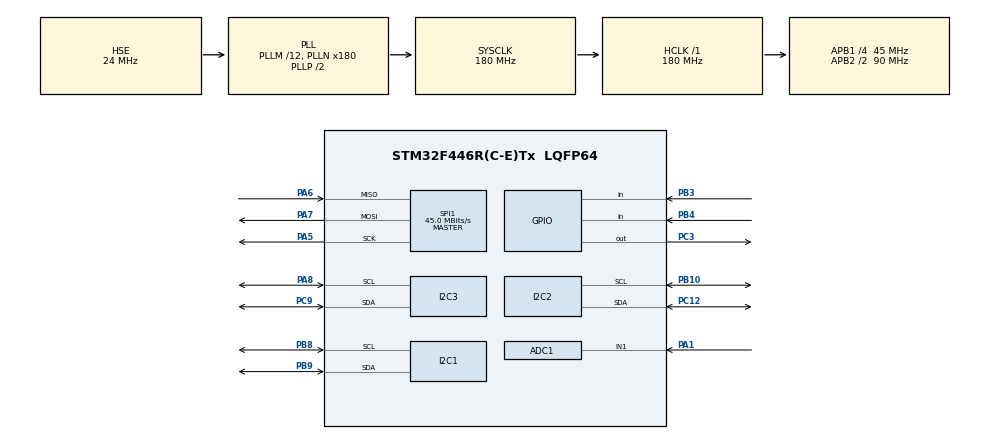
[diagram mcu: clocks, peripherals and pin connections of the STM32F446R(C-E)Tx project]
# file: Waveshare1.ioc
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ADC1.Channel-0\#ChannelRegularConversion=ADC_CHANNEL_1
ADC1.NbrOfConversionFlag=1
ADC1.Rank-0\#ChannelRegularConversion=1
ADC1.SamplingTime-0\#ChannelRegularConversion=ADC_SAMPLETIME_3CYCLES
ADC1.master=1
FATFS._MAX_SS=4096
FATFS._USE_LFN=1
I2C1.I2C_Mode=I2C_Fast
I2C3.I2C_Mode=I2C_Fast
Mcu.Family=STM32F4
Mcu.Name=STM32F446R(C-E)Tx
Mcu.Package=LQFP64
NVIC.PriorityGroup=NVIC_PRIORITYGROUP_4
NVIC.TIM1_UP_TIM10_IRQn=true\:0\:0\:false\:false\:true\:true\:true\:true
NVIC.TIM3_IRQn=true\:0\:0\:false\:false\:true\:true\:true\:true
PA1.Signal=ADCx_IN1
PA13.Mode=Serial_Wire
PA13.Signal=SYS_JTMS-SWDIO
PA14.Mode=Serial_Wire
PA14.Signal=SYS_JTCK-SWCLK
PA5.Mode=Full_Duplex_Master
PA5.Signal=SPI1_SCK
PA6.Mode=Full_Duplex_Master
PA6.Signal=SPI1_MISO
PA7.Mode=Full_Duplex_Master
PA7.Signal=SPI1_MOSI
PA8.Mode=I2C
PA8.Signal=I2C3_SCL
PB10.Mode=I2C
PB10.Signal=I2C2_SCL
PB3.Signal=GPIO_Input
PB4.Signal=GPIO_Input
PB8.Mode=I2C
PB8.Signal=I2C1_SCL
PB9.Mode=I2C
PB9.Signal=I2C1_SDA
PC12.Mode=I2C
PC12.Signal=I2C2_SDA
PC3.Signal=GPIO_Output
PC9.Mode=I2C
PC9.Signal=I2C3_SDA
PH0-OSC_IN.Mode=HSE-External-Oscillator
PH0-OSC_IN.Signal=RCC_OSC_IN
PH1-OSC_OUT.Mode=HSE-External-Oscillator
PH1-OSC_OUT.Signal=RCC_OSC_OUT
ProjectManager.HeapSize=0x200
ProjectManager.StackSize=0x400
ProjectManager.TargetToolchain=STM32CubeIDE
RCC.AHBFreq_Value=180000000
RCC.APB1CLKDivider=RCC_HCLK_DIV4
RCC.APB1Freq_Value=45000000
RCC.APB1TimFreq_Value=90000000
RCC.APB2CLKDivider=RCC_HCLK_DIV2
RCC.APB2Freq_Value=90000000
RCC.APB2TimFreq_Value=180000000
RCC.CortexFreq_Value=180000000
RCC.HCLKFreq_Value=180000000
RCC.HSE_VALUE=24000000
RCC.PLLM=12
RCC.PLLN=180
RCC.PLLSourceVirtual=RCC_PLLSOURCE_HSE
RCC.SYSCLKFreq_VALUE=180000000
RCC.SYSCLKSource=RCC_SYSCLKSOURCE_PLLCLK
RCC.USBFreq_Value=180000000
RCC.VCOOutputFreq_Value=360000000
SH.ADCx_IN1.0=ADC1_IN1,IN1
SPI1.BaudRatePrescaler=SPI_BAUDRATEPRESCALER_2
SPI1.CalculateBaudRate=45.0 MBits/s
SPI1.Direction=SPI_DIRECTION_2LINES
SPI1.Mode=SPI_MODE_MASTER
SPI1.VirtualType=VM_MASTER
TIM10.AutoReloadPreload=TIM_AUTORELOAD_PRELOAD_ENABLE
TIM10.Prescaler=17999
TIM3.AutoReloadPreload=TIM_AUTORELOAD_PRELOAD_ENABLE
TIM3.Prescaler=17999
VP_FATFS_VS_Generic.Mode=User_defined
VP_TIM10_VS_ClockSourceINT.Mode=Enable_Timer
VP_TIM3_VS_ClockSourceINT.Mode=Internal
board=custom

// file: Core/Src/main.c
/* USER CODE BEGIN Header */
/**
  ******************************************************************************
  * @file           : main.c
  * @brief          : Main program body
  ******************************************************************************
  * @attention
  *
  * Copyright (c) 2022 STMicroelectronics.
  * All rights reserved.
  *
  * This software is licensed under terms that can be found in the LICENSE file
  * in the root directory of this software component.
  * If no LICENSE file comes with this software, it is provided AS-IS.
  *
  ******************************************************************************
  */
/* USER CODE END Header */
#include "main.h"
#include "fatfs.h"
#include "ssd1306.h"
#include "stdio.h"
#include "string.h"
#include "Waveshare_10Dof-D.h"
#include "mpu925x.h"
#include "mpu9255.h"
/* USER CODE BEGIN Includes */
FATFS fs;
FIL fil;

/* USER CODE END Includes */

 ADC_HandleTypeDef hadc1;

//I2C_HandleTypeDef hi2c1;
I2C_HandleTypeDef hi2c2;
I2C_HandleTypeDef hi2c3;

SPI_HandleTypeDef hspi1;

TIM_HandleTypeDef htim3;
TIM_HandleTypeDef htim10;

void SystemClock_Config(void);
static void MX_GPIO_Init(void);
static void MX_ADC1_Init(void);
//static void MX_I2C1_Init(void);
static void MX_I2C2_Init(void);
static void MX_I2C3_Init(void);
static void MX_SPI1_Init(void);
static void MX_TIM10_Init(void);
static void MX_TIM3_Init(void);

/* USER CODE BEGIN 0 */

 uint32_t total_time=-65535;
 MPU9255_t MPU9255;
uint8_t I2C_ReadOneByte(uint8_t DevAddr, uint8_t RegAddr)
{
  uint8_t u8Ret[1]={0};
  HAL_I2C_Mem_Read(&hi2c1, DevAddr,RegAddr,I2C_MEMADD_SIZE_8BIT,u8Ret,1,1000);
  return u8Ret[0];
}

void I2C_WriteOneByte(uint8_t DevAddr, uint8_t RegAddr, uint8_t value)
{
  uint8_t buf[2]={0};

  buf[0] = RegAddr;
  buf[1] = value;
  HAL_I2C_Master_Transmit(&hi2c1,DevAddr,buf,2,100);

}

uint8_t mpu925x_stm32_i2c_hal_read(mpu925x_t *mpu925x, uint8_t slave_address, uint8_t reg, uint8_t *buffer, uint8_t size)
{
        return HAL_I2C_Mem_Read(mpu925x->master_specific.bus_handle, slave_address << 1, reg, 1, buffer, size, HAL_MAX_DELAY);
}

//mpu925x.master_specific.bus_read = mpu925x_stm32_i2c_hal_read;

uint8_t mpu925x_stm32_i2c_hal_write(mpu925x_t *mpu925x, uint8_t slave_address, uint8_t reg, uint8_t *buffer, uint8_t size)
{
        return HAL_I2C_Mem_Write(mpu925x->master_specific.bus_handle, slave_address << 1, reg, 1, buffer, size, HAL_MAX_DELAY);
}

//mpu925x.master_specific.bus_write = mpu925x_stm32_i2c_hal_write;

void mpu925x_stm32_hal_delay_ms(mpu925x_t *mpu925x, uint32_t delay)
{
        HAL_Delay(delay);
}

//mpu925x.master_specific.delay_ms = mpu925x_stm32_hal_delay_ms;

/* USER CODE END 0 */

int main(void)
{

  /* MCU Configuration--------------------------------------------------------*/

  /* Reset of all peripherals, Initializes the Flash interface and the Systick. */
  HAL_Init();

  /* Configure the system clock */
  SystemClock_Config();

  /* Initialize all configured peripherals */
  MX_GPIO_Init();
  MX_ADC1_Init();
  MX_I2C1_Init();
  MX_I2C2_Init();
  MX_I2C3_Init();
  MX_SPI1_Init();
  MX_FATFS_Init();
  MX_TIM10_Init();
  MX_TIM3_Init();
  /* USER CODE BEGIN 2 */

  uint16_t timer_val=0;

 // mpu925x.master_specific.bus_handle = &hi2c1;

  HAL_Delay(10);
  f_mount(&fs, "", 0);
  f_open(&fil, "write.txt", FA_OPEN_ALWAYS | FA_WRITE | FA_READ);
  HAL_Delay(10);

	IMU_EN_SENSOR_TYPE enMotionSensorType;
	IMU_EN_SENSOR_TYPE enPressureType;
//  	IMU_ST_ANGLES_DATA stAngles;
// 	IMU_ST_SENSOR_DATA stGyroRawData;
// 	IMU_ST_SENSOR_DATA stAccelRawData;
//  	IMU_ST_SENSOR_DATA stMagnRawData;
	int32_t s32PressureVal = 0, s32TemperatureVal = 0, s32AltitudeVal = 0;
// 	icm20948init();
// 	bmp280Init();
	imuInit(&enMotionSensorType, &enPressureType);
/*  	if(IMU_EN_SENSOR_TYPE_ICM20948 == enMotionSensorType)
	{
      ssd1306_SetCursor(5,5);
		 char retVal= ssd1306_WriteString("Motion ICM-20948\n", Font_7x10, White);
		      ssd1306_UpdateScreen();
	}
	else
	{
      ssd1306_SetCursor(5,5);
		char retVal= ssd1306_WriteString("Motion NULL\n", Font_7x10, White);
		      ssd1306_UpdateScreen();
	}*/
	if(IMU_EN_SENSOR_TYPE_BMP280 == enPressureType)
	{
      ssd1306_SetCursor(5,15);
		char retVal= ssd1306_WriteString("Pressure BMP280\n", Font_7x10, White);
		      ssd1306_UpdateScreen();
	}
	else
	{
      ssd1306_SetCursor(0,13);
		char retVal= ssd1306_WriteString("Pressure NULL\n", Font_7x10, White);
		      ssd1306_UpdateScreen();
	}
	HAL_Delay(20);
      //ssd1306_Init();
      //ssd1306_Fill(White);
      //ssd1306_SetCursor(5,5);
      //char retVal= ssd1306_WriteString("Hello", Font_7x10, White);
      //ssd1306_UpdateScreen();

      // Wait till' initializition is complete. Will be in endless loop if sensor
      // is unreachable (wiring is not correct, sensor is damaged...).
      //while (mpu925x_init(&mpu925x, 0)!=0);
      while (MPU9255_Init(&hi2c1) == 1);

  /* USER CODE END 2 */

  /* Infinite loop */
  /* USER CODE BEGIN WHILE */

	  HAL_Delay(10);
    int g_h;
     float g_lf;
     int g_l;
     uint8_t tx;
     char str[10];char str1[10];char str2[10];char str3[10];char str4[10];char str5[10];char str6[10];char str7[10];char str8[10];char str9[10];char str10[10];char str11[10];char str12[10]; char str13[10];

     int count=0;
         	HAL_GPIO_WritePin(GPIOC, GPIO_PIN_3,GPIO_PIN_SET);

            HAL_Delay(10);
      //      HAL_NVIC_EnableIRQ(TIM3_IRQn);
     //       __HAL_TIM_ENABLE_IT(&htim3, TIM_IT_UPDATE );
            HAL_TIM_Base_Start_IT(&htim10);
            float pitch;
            float yaw;
            float roll;
            uint8_t rawAccelData[6];  // x/y/z accel register data stored here
            uint16_t accelCount[3];
  while (1)
  {

	    /* USER CODE END WHILE */

	      // Use sensor data (e.g. print).
	   /*   printf("Acceleration: %f, %f, %f\n"
	             "Rotation: %f, %f, %f\n"
	             "Magnetic field: %f, %f, %f\n",
	             mpu925x.sensor_data.acceleration[0], mpu925x.sensor_data.acceleration[1], mpu925x.sensor_data.acceleration[2],
	             mpu925x.sensor_data.rotation[0], mpu925x.sensor_data.rotation[1], mpu925x.sensor_data.rotation[2],
	             mpu925x.sensor_data.magnetic_field[0], mpu925x.sensor_data.magnetic_field[1], mpu925x.sensor_data.magnetic_field[2]);

	*/

	//	  imuDataGet( &stAngles, &stGyroRawData, &stAccelRawData, &stMagnRawData);

		  	//	printf("\r\n /-------------------------------------------------------------/ \r\n");
		  	//	printf("\r\n Roll: %.2f     Pitch: %.2f     Yaw: %.2f \r\n",stAngles.fRoll, stAngles.fPitch, stAngles.fYaw);

		 /* 		  	  sprintf(str, "%d", count);
		        ssd1306_SetCursor(5,15);
		  		retVal= ssd1306_WriteString(str, Font_7x10, White);
		  		      ssd1306_UpdateScreen();*/

		  //		printf("\r\n Acceleration: X: %d     Y: %d     Z: %d \r\n",stAccelRawData.s16X, stAccelRawData.s16Y, stAccelRawData.s16Z);
		  	//	printf("\r\n Gyroscope: X: %d     Y: %d     Z: %d \r\n",stGyroRawData.s16X, stGyroRawData.s16Y, stGyroRawData.s16Z);
		  	//	printf("\r\n Magnetic: X: %d     Y: %d     Z: %d \r\n",stMagnRawData.s16X, stMagnRawData.s16Y, stMagnRawData.s16Z);
		  	//	printf("\r\n Pressure: %.2f     Altitude: %.2f \r\n",(float)s32PressureVal/100, (float)s32AltitudeVal/100);
		  //		printf("\r\n Temperature: %.1f \r\n", (float)s32TemperatureVal/100);
		  //		HAL_Delay(100);

	      /*

						mpu925x.sensor_data.acceleration[0], mpu925x.sensor_data.acceleration[1], mpu925x.sensor_data.acceleration[2],
	             mpu925x.sensor_data.rotation[0], mpu925x.sensor_data.rotation[1], mpu925x.sensor_data.rotation[2],
	             mpu925x.sensor_data.magnetic_field[0], mpu925x.sensor_data.magnetic_field[1], mpu925x.sensor_data.magnetic_field[2]

	       */
		 /* timer_val = __HAL_TIM_GET_COUNTER(&htim10);
		  sprintf(str, "%d",(total_time+timer_val)/10000 );
		  	  		  	  ssd1306_SetCursor(0,21);
		  	  		  	  retVal= ssd1306_WriteString(str, Font_7x10, White);
		  	  		  	  ssd1306_UpdateScreen();*/
		  	  		      /* USER CODE BEGIN 3 */
	  // mpu925x_get_all_raw(&mpu925x);

		//readAccelData(&hi2c1,&accelCount);
	    	//  destination[0] = ((int16_t)rawAccelData[0] << 8) | rawAccelData[1];
	    //	pitch = MPU9255.pitch;
	    //	yaw = MPU9255.yaw;
	   // 	roll= MPU9255.roll;
		        // Get sensor data.
	    		HAL_Delay(10);

		    	readAll(&hi2c1, &MPU9255);

		        HAL_Delay(10);
		   /*     g_h=MPU9255.AccelX;
		        		  		  	  g_lf=(MPU9255.AccelX)-g_h;
		        		  		  	  g_l= abs(trunc(g_lf*1000));
		        		  		  	  sprintf(str3, "%d.%d", g_h,g_l);
		        		  	  		  	  ssd1306_SetCursor(0,21);
		        		  	  		  	  retVal= ssd1306_WriteString(str3, Font_7x10, White);
		        		  	  		  	  ssd1306_UpdateScreen();*/

			  	pressSensorDataGet(&s32TemperatureVal, &s32PressureVal, &s32AltitudeVal);

			    timer_val = __HAL_TIM_GET_COUNTER(&htim10);

		  		      g_h=MPU9255.AccelX;
		  		  	  g_lf=(MPU9255.AccelX-g_h);
		  		  	  g_l= abs(trunc(g_lf*1000));
		  		  	  sprintf(str, "%d.%d", g_h,g_l);

		  		  	  g_h=MPU9255.AccelY;
		  		  	  g_lf=(MPU9255.AccelY-g_h);
		  		  	  g_l= abs(trunc(g_lf*1000));
		  		  	  sprintf(str2,"%d.%d", g_h,g_l);

		  		  	  g_h=MPU9255.AccelZ;
		  		  	  g_lf=(MPU9255.AccelZ-g_h);
		  		  	  g_l= abs(trunc(g_lf*1000));
		  		  	  sprintf(str3, "%d.%d", g_h,g_l);

		  		  	  g_h= MPU9255.GyroX;
		  		  	  g_lf=(MPU9255.GyroX-g_h);
		  		  	  g_l= abs(trunc(g_lf*1000));
		  		  	  sprintf(str4, "%d.%d", g_h,g_l);

		  		  	  g_h=MPU9255.GyroY;
		  		  	  g_lf=(MPU9255.GyroY-g_h);
		  		  	  g_l= abs(trunc(g_lf*1000));
		  		  	  sprintf(str5, "%d.%d", g_h,g_l);

		  		  	  g_h=MPU9255.GyroZ;
		  		  	  g_lf=(MPU9255.GyroZ-g_h);
		  		  	  g_l=abs(trunc(g_lf*1000));
		  		  	  sprintf(str6, "%d.%d", g_h,g_l);

		  		  	  g_h=MPU9255.MagX;
		  		  	  g_lf=(MPU9255.MagX-g_h);
		  		  	  g_l= abs(trunc(g_lf*1000));
		  		  	  sprintf(str7, "%d.%d", g_h,g_l);

		  		  	  g_h=MPU9255.MagY;
		  		  	  g_lf=(MPU9255.MagY-g_h);
		  		  	  g_l= abs(trunc(g_lf*1000));
		  		  	  sprintf(str8, "%d.%d", g_h,g_l);

		  		  	  g_h=MPU9255.MagZ;
		  		  	  g_lf=(MPU9255.MagZ-g_h);
		  		  	  g_l= abs(trunc(g_lf*1000));
		  		  	  sprintf(str9, "%d.%d", g_h,g_l);

		  		  	  g_h=(float)s32TemperatureVal/100;
		  		  	  g_lf=(((float)s32TemperatureVal/100)-g_h);
		  		  	  g_l= abs(trunc(g_lf*1000));
		  		  	  sprintf(str10, "%d.%d", g_h,g_l);

		  		  	  g_h=(float)s32PressureVal/100;
		  		  	  g_lf=(((float)s32PressureVal/100)-g_h);
		  		  	  g_l= abs(trunc(g_lf*1000));
		  		  	  sprintf(str11, "%d.%d", g_h,g_l);

		  		  	  g_h=(float)s32AltitudeVal/100;
		  		  	  g_lf=(((float)s32AltitudeVal/100)-g_h);
		  		  	  g_l= abs(trunc(g_lf*1000));
		  		  	  sprintf(str12, "%d.%d", g_h,g_l);

		  		  	  sprintf(str13, "%d",total_time+timer_val);

		  		  	  f_puts(str , &fil);
		  		  	  f_puts("  ", &fil);
		  		  	  f_puts(str2 , &fil);
		  		  	  f_puts("  ", &fil);
		  		  	  f_puts(str3 , &fil);
		  		  	  f_puts( "  ", &fil);
		  		  	  f_puts(str4 , &fil);
		  		  	  f_puts("  ", &fil);
		  		  	  f_puts(str5 , &fil);
		  		  	  f_puts("  ", &fil);
		  		  	  f_puts(str6 , &fil);
		  		  	  f_puts( "  ", &fil);
		  		  	  f_puts(str7 , &fil);
		  		  	  f_puts("  ", &fil);
		  		  	  f_puts(str8 , &fil);
		  		  	  f_puts("  ", &fil);
		  		  	  f_puts(str9 , &fil);
		  		  	  f_puts( "  ", &fil);
		  		  	  f_puts(str10 , &fil);
		  		 	  f_puts( "  ", &fil);
		  		  	  f_puts(str11 , &fil);
		  		 	  f_puts( "  ", &fil);
		  		 	  f_puts(str12 , &fil);
		  		 	  f_puts( "  ", &fil);
		  		 	  f_puts(str13, &fil);
		  		 	  f_puts( "  ", &fil);
		  		  	  f_puts( "\n", &fil);

		  		  	  count++;
		  		  	  if (count>2500)
		  		  	  {
		  		  		f_close(&fil);
		  		  		HAL_GPIO_WritePin(GPIOC, GPIO_PIN_3,GPIO_PIN_RESET);
		  		  		break;
		  		  	  }

		 		    }

  /* USER CODE END 3 */
}

void SystemClock_Config(void)
{
  RCC_OscInitTypeDef RCC_OscInitStruct = {0};
  RCC_ClkInitTypeDef RCC_ClkInitStruct = {0};

  /** Configure the main internal regulator output voltage
  */
  __HAL_RCC_PWR_CLK_ENABLE();
  __HAL_PWR_VOLTAGESCALING_CONFIG(PWR_REGULATOR_VOLTAGE_SCALE1);

  /** Initializes the RCC Oscillators according to the specified parameters
  * in the RCC_OscInitTypeDef structure.
  */
  RCC_OscInitStruct.OscillatorType = RCC_OSCILLATORTYPE_HSE;
  RCC_OscInitStruct.HSEState = RCC_HSE_ON;
  RCC_OscInitStruct.PLL.PLLState = RCC_PLL_ON;
  RCC_OscInitStruct.PLL.PLLSource = RCC_PLLSOURCE_HSE;
  RCC_OscInitStruct.PLL.PLLM = 12;
  RCC_OscInitStruct.PLL.PLLN = 180;
  RCC_OscInitStruct.PLL.PLLP = RCC_PLLP_DIV2;
  RCC_OscInitStruct.PLL.PLLQ = 2;
  RCC_OscInitStruct.PLL.PLLR = 2;
  if (HAL_RCC_OscConfig(&RCC_OscInitStruct) != HAL_OK)
  {
    Error_Handler();
  }

  /** Activate the Over-Drive mode
  */
  if (HAL_PWREx_EnableOverDrive() != HAL_OK)
  {
    Error_Handler();
  }

  /** Initializes the CPU, AHB and APB buses clocks
  */
  RCC_ClkInitStruct.ClockType = RCC_CLOCKTYPE_HCLK|RCC_CLOCKTYPE_SYSCLK
                              |RCC_CLOCKTYPE_PCLK1|RCC_CLOCKTYPE_PCLK2;
  RCC_ClkInitStruct.SYSCLKSource = RCC_SYSCLKSOURCE_PLLCLK;
  RCC_ClkInitStruct.AHBCLKDivider = RCC_SYSCLK_DIV1;
  RCC_ClkInitStruct.APB1CLKDivider = RCC_HCLK_DIV4;
  RCC_ClkInitStruct.APB2CLKDivider = RCC_HCLK_DIV2;

  if (HAL_RCC_ClockConfig(&RCC_ClkInitStruct, FLASH_LATENCY_5) != HAL_OK)
  {
    Error_Handler();
  }
}

static void MX_ADC1_Init(void)
{

  ADC_ChannelConfTypeDef sConfig = {0};

  /** Configure the global features of the ADC (Clock, Resolution, Data Alignment and number of conversion)
  */
  hadc1.Instance = ADC1;
  hadc1.Init.ClockPrescaler = ADC_CLOCK_SYNC_PCLK_DIV4;
  hadc1.Init.Resolution = ADC_RESOLUTION_12B;
  hadc1.Init.ScanConvMode = DISABLE;
  hadc1.Init.ContinuousConvMode = DISABLE;
  hadc1.Init.DiscontinuousConvMode = DISABLE;
  hadc1.Init.ExternalTrigConvEdge = ADC_EXTERNALTRIGCONVEDGE_NONE;
  hadc1.Init.ExternalTrigConv = ADC_SOFTWARE_START;
  hadc1.Init.DataAlign = ADC_DATAALIGN_RIGHT;
  hadc1.Init.NbrOfConversion = 1;
  hadc1.Init.DMAContinuousRequests = DISABLE;
  hadc1.Init.EOCSelection = ADC_EOC_SINGLE_CONV;
  if (HAL_ADC_Init(&hadc1) != HAL_OK)
  {
    Error_Handler();
  }

  /** Configure for the selected ADC regular channel its corresponding rank in the sequencer and its sample time.
  */
  sConfig.Channel = ADC_CHANNEL_1;
  sConfig.Rank = 1;
  sConfig.SamplingTime = ADC_SAMPLETIME_3CYCLES;
  if (HAL_ADC_ConfigChannel(&hadc1, &sConfig) != HAL_OK)
  {
    Error_Handler();
  }

}

//static void MX_I2C1_Init(void)
//{

//  hi2c1.Instance = I2C1;
//  hi2c1.Init.ClockSpeed = 400000;
//  hi2c1.Init.DutyCycle = I2C_DUTYCYCLE_2;
//  hi2c1.Init.OwnAddress1 = 0;
//  hi2c1.Init.AddressingMode = I2C_ADDRESSINGMODE_7BIT;
//  hi2c1.Init.DualAddressMode = I2C_DUALADDRESS_DISABLE;
//  hi2c1.Init.OwnAddress2 = 0;
//  hi2c1.Init.GeneralCallMode = I2C_GENERALCALL_DISABLE;
//  hi2c1.Init.NoStretchMode = I2C_NOSTRETCH_DISABLE;
//  if (HAL_I2C_Init(&hi2c1) != HAL_OK)
//  {
 //   Error_Handler();
//  }

//}

static void MX_I2C2_Init(void)
{

  hi2c2.Instance = I2C2;
  hi2c2.Init.ClockSpeed = 100000;
  hi2c2.Init.DutyCycle = I2C_DUTYCYCLE_2;
  hi2c2.Init.OwnAddress1 = 0;
  hi2c2.Init.AddressingMode = I2C_ADDRESSINGMODE_7BIT;
  hi2c2.Init.DualAddressMode = I2C_DUALADDRESS_DISABLE;
  hi2c2.Init.OwnAddress2 = 0;
  hi2c2.Init.GeneralCallMode = I2C_GENERALCALL_DISABLE;
  hi2c2.Init.NoStretchMode = I2C_NOSTRETCH_DISABLE;
  if (HAL_I2C_Init(&hi2c2) != HAL_OK)
  {
    Error_Handler();
  }

}

static void MX_I2C3_Init(void)
{

  hi2c3.Instance = I2C3;
  hi2c3.Init.ClockSpeed = 400000;
  hi2c3.Init.DutyCycle = I2C_DUTYCYCLE_2;
  hi2c3.Init.OwnAddress1 = 0;
  hi2c3.Init.AddressingMode = I2C_ADDRESSINGMODE_7BIT;
  hi2c3.Init.DualAddressMode = I2C_DUALADDRESS_DISABLE;
  hi2c3.Init.OwnAddress2 = 0;
  hi2c3.Init.GeneralCallMode = I2C_GENERALCALL_DISABLE;
  hi2c3.Init.NoStretchMode = I2C_NOSTRETCH_DISABLE;
  if (HAL_I2C_Init(&hi2c3) != HAL_OK)
  {
    Error_Handler();
  }

}

static void MX_SPI1_Init(void)
{

  /* SPI1 parameter configuration*/
  hspi1.Instance = SPI1;
  hspi1.Init.Mode = SPI_MODE_MASTER;
  hspi1.Init.Direction = SPI_DIRECTION_2LINES;
  hspi1.Init.DataSize = SPI_DATASIZE_8BIT;
  hspi1.Init.CLKPolarity = SPI_POLARITY_LOW;
  hspi1.Init.CLKPhase = SPI_PHASE_1EDGE;
  hspi1.Init.NSS = SPI_NSS_SOFT;
  hspi1.Init.BaudRatePrescaler = SPI_BAUDRATEPRESCALER_2;
  hspi1.Init.FirstBit = SPI_FIRSTBIT_MSB;
  hspi1.Init.TIMode = SPI_TIMODE_DISABLE;
  hspi1.Init.CRCCalculation = SPI_CRCCALCULATION_DISABLE;
  hspi1.Init.CRCPolynomial = 10;
  if (HAL_SPI_Init(&hspi1) != HAL_OK)
  {
    Error_Handler();
  }

}

static void MX_TIM3_Init(void)
{

  TIM_ClockConfigTypeDef sClockSourceConfig = {0};
  TIM_MasterConfigTypeDef sMasterConfig = {0};

  htim3.Instance = TIM3;
  htim3.Init.Prescaler = 17999;
  htim3.Init.CounterMode = TIM_COUNTERMODE_UP;
  htim3.Init.Period = 65535;
  htim3.Init.ClockDivision = TIM_CLOCKDIVISION_DIV1;
  htim3.Init.AutoReloadPreload = TIM_AUTORELOAD_PRELOAD_ENABLE;
  if (HAL_TIM_Base_Init(&htim3) != HAL_OK)
  {
    Error_Handler();
  }
  sClockSourceConfig.ClockSource = TIM_CLOCKSOURCE_INTERNAL;
  if (HAL_TIM_ConfigClockSource(&htim3, &sClockSourceConfig) != HAL_OK)
  {
    Error_Handler();
  }
  sMasterConfig.MasterOutputTrigger = TIM_TRGO_RESET;
  sMasterConfig.MasterSlaveMode = TIM_MASTERSLAVEMODE_DISABLE;
  if (HAL_TIMEx_MasterConfigSynchronization(&htim3, &sMasterConfig) != HAL_OK)
  {
    Error_Handler();
  }

}

static void MX_TIM10_Init(void)
{

  htim10.Instance = TIM10;
  htim10.Init.Prescaler = 17999;
  htim10.Init.CounterMode = TIM_COUNTERMODE_UP;
  htim10.Init.Period = 65535;
  htim10.Init.ClockDivision = TIM_CLOCKDIVISION_DIV1;
  htim10.Init.AutoReloadPreload = TIM_AUTORELOAD_PRELOAD_ENABLE;
  if (HAL_TIM_Base_Init(&htim10) != HAL_OK)
  {
    Error_Handler();
  }

}

static void MX_GPIO_Init(void)
{
  GPIO_InitTypeDef GPIO_InitStruct = {0};

  /* GPIO Ports Clock Enable */
  __HAL_RCC_GPIOH_CLK_ENABLE();
  __HAL_RCC_GPIOC_CLK_ENABLE();
  __HAL_RCC_GPIOA_CLK_ENABLE();
  __HAL_RCC_GPIOB_CLK_ENABLE();

  /*Configure GPIO pin Output Level */
  HAL_GPIO_WritePin(GPIOC, GPIO_PIN_3, GPIO_PIN_RESET);

  /*Configure GPIO pin : PC3 */
  GPIO_InitStruct.Pin = GPIO_PIN_3;
  GPIO_InitStruct.Mode = GPIO_MODE_OUTPUT_PP;
  GPIO_InitStruct.Pull = GPIO_NOPULL;
  GPIO_InitStruct.Speed = GPIO_SPEED_FREQ_LOW;
  HAL_GPIO_Init(GPIOC, &GPIO_InitStruct);

  /*Configure GPIO pins : PB3 PB4 */
  GPIO_InitStruct.Pin = GPIO_PIN_3|GPIO_PIN_4;
  GPIO_InitStruct.Mode = GPIO_MODE_INPUT;
  GPIO_InitStruct.Pull = GPIO_NOPULL;
  HAL_GPIO_Init(GPIOB, &GPIO_InitStruct);

}

/* USER CODE BEGIN 4 */
void HAL_TIM_PeriodElapsedCallback(TIM_HandleTypeDef *htim)
{
  // Check which version of the timer triggered this callback and toggle LED
  if (htim == &htim10 )
  {
    total_time+=65535;
  }
}
/* USER CODE END 4 */

void Error_Handler(void)
{
  __disable_irq();
  while (1)
  {
  }
}
